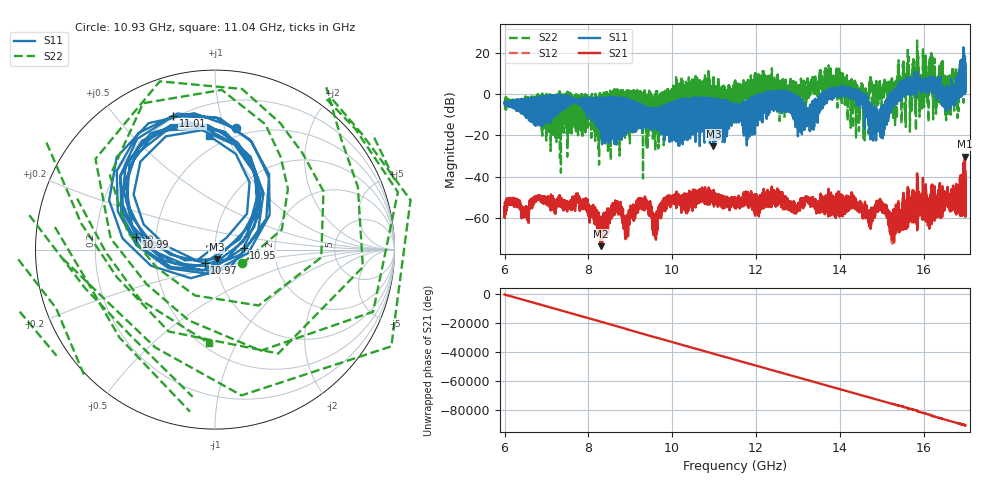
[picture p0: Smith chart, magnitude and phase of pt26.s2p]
#  HZ  S  RI  R  50.00
! Rohde & Schwarz Vector Network Analyzer
! Rohde-Schwarz,ZNA67-2Port,1332450062101215,3.01
! Created: UTC 10/27/2026, 1:35:42 PM
! freq[Hz]  re:S11  im:S11  re:S21  im:S21  re:S12  im:S12  re:S22  im:S22
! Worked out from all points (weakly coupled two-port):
!   11001 points, 6 GHz to 17 GHz, reference 50 ohm
!   highest |S21| = -30.31 dB at 16.99 GHz (marker M1); lowest = -73.6 dB at 8.292 GHz (marker M2)
!   lowest |S11| = -25.3 dB at 10.98 GHz (marker M3), VSWR 1.11, Z = 50.6 - j5.41 ohm
!   |S11| at or under -10 dB: 14.83008 GHz to 14.84552 GHz (15.44 MHz wide, 0.104 % of centre); 14.87778 GHz to 14.90898 GHz (31.2 MHz wide, 0.21 % of centre); 14.91031 GHz to 14.92155 GHz (11.23 MHz wide, 0.0753 % of centre) (the widest 3 of 512)
!   |S22| runs from -40.9 to 25.9 dB; largest |S21 - S12| = 0.018
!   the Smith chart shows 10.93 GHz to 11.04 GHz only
!   S11 on the Smith chart (normalised r, x): 10.93 GHz: 0.43, +1.09; 10.95 GHz: 1.38, +0.03; 10.97 GHz: 0.88, -0.13; 10.99 GHz: 0.39, +0.07; 11.01 GHz: 0.19, +0.72; 11.04 GHz: 0.41, +0.86
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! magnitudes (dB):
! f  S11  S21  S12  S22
! 6 GHz  -4.3  -54.7  -54.8  -4.3
! 7.834 GHz  -3.8  -53.3  -53.3  -14.8
! 8.292 GHz  -3.4  -73.6  -71.5  -11.4
! 8.645 GHz  -12.1  -55.0  -55.0  -3.5
! 8.896 GHz  -4.5  -64.9  -64.9  -7.4
! 9.667 GHz  -7.6  -55.0  -54.8  -7.0
! 10.93 GHz  -3.3  -48.9  -48.6  -15.3
! 10.95 GHz  -15.9  -48.6  -48.5  -7.4
! 10.97 GHz  -20.6  -48.0  -48.0  0.4
! 10.98 GHz  -25.3  -49.8  -49.6  3.6
! 10.99 GHz  -7.0  -51.6  -51.4  5.1
! 11.01 GHz  -2.2  -50.2  -50.5  -1.6
! 11.04 GHz  -3.9  -50.2  -50.3  -5.6
! 11.5 GHz  -6.0  -52.6  -52.8  2.9
! 13.33 GHz  -8.0  -52.9  -52.4  5.5
! 14.07 GHz  -0.9  -52.5  -52.3  7.2
! 14.85 GHz  -11.2  -55.6  -55.7  1.0
! 15.17 GHz  -3.6  -63.7  -62.8  0.5
! 15.84 GHz  0.5  -61.3  -62.6  4.4
! 16.59 GHz  1.9  -47.8  -47.6  -3.7
! 16.99 GHz  18.3  -30.3  -29.7  16.5
! 17 GHz  14.9  -37.5  -38.5  13.8
